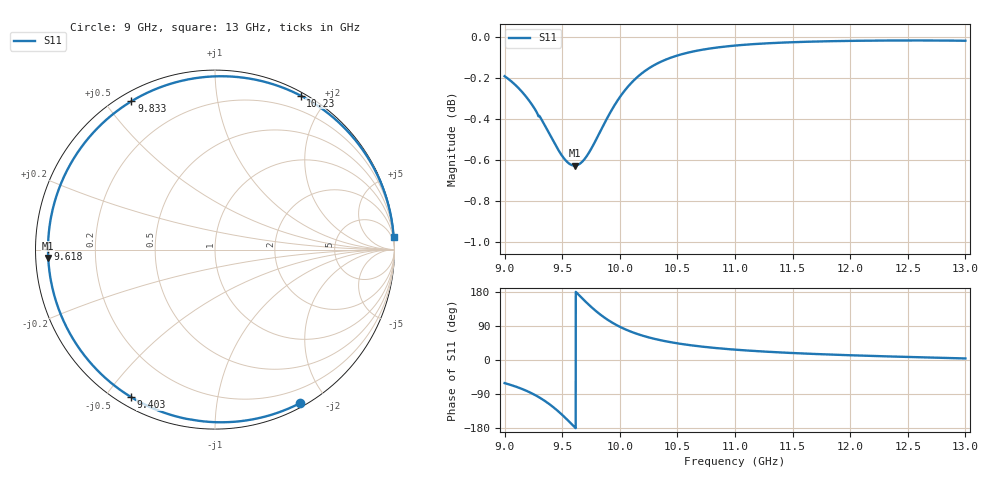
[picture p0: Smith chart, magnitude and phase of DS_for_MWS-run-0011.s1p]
! TOUCHSTONE file generated by CST DESIGN STUDIO
! Date and time: Tue Feb  4 15:50:00 2025
! Project name: C:\Work\MatlabApps\UnitCellOptimizationMatlab\CST\unitcell.cst
! Tree item: Tasks\Sweep1\SPara1\S-Parameters
! Header version: 2024
! Port assignment regex: !\s*Touchstone port\s*([0-9]+)\s*=\s*(CST MWS port|CST DES external port|CST DES block port)\s*(.+)\s* \(\"(.*)\"\)(\s*mode\s*([0-9]+))?.*
! Touchstone port assignment:
! Touchstone port 1 = CST DES external port 1 ("")
# GHz S MA R 50
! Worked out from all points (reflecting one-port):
!   4001 points, 9 GHz to 13 GHz, reference 50 ohm
!   lowest |S11| = -0.6 dB at 9.608 GHz (marker M1), VSWR 27.69, Z = 1.81 - j1.24 ohm
!   phase of S11 starts at -61 deg and turns -295 deg over the sweep
!   S11 on the Smith chart (normalised r, x): 9 GHz: 0.04, -1.70; 9.403 GHz: 0.04, -0.58; 9.618 GHz: 0.04, +0.00; 9.833 GHz: 0.04, +0.58; 10.23 GHz: 0.04, +1.70; 13 GHz: 1, +28
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9  0.978 -61.0
9.054  0.9754 -65.9
9.126  0.9712 -73.4
9.188  0.9668 -81.1
9.249  0.9615 -90.0
9.331  0.9535 -104.4
9.403  0.9454 -119.8
9.452  0.94 -131.8
9.5  0.9353 -144.8
9.556  0.9315 -161.2
9.608  0.9303 -177.1
9.618  0.9303 179.8
9.663  0.9317 165.9
9.71  0.935 151.8
9.772  0.9413 134.6
9.833  0.9486 119.4
9.91  0.9576 103.1
10  0.9666 87.7
10.112  0.9751 73.0
10.235  0.9816 61.0
10.358  0.986 51.9
10.5  0.9894 44.0
10.72  0.9927 35.1
11  0.9949 27.3
11.5  0.9968 18.4
12  0.9976 12.5
12.5  0.9978 8.0
13  0.9976 4.1
